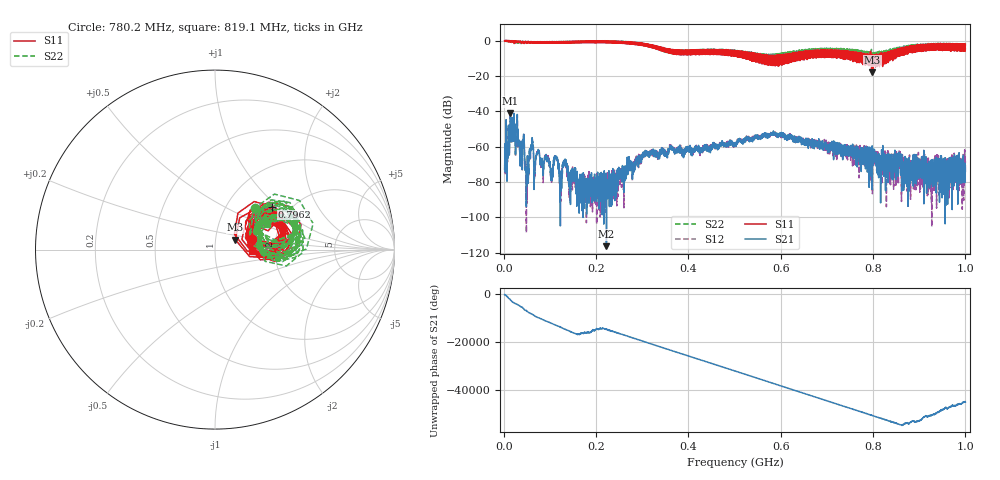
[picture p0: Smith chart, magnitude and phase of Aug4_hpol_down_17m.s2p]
!Keysight Technologies N9923A: A.12.45
!Date: Tuesday, 05 August 2025 18:19:02
!Timezone: (UTC+08:00) Kuala Lumpur, Singapore
!Model: N9923A
!Serial: MY61181427
!GPS Latitude:
!GPS Longitude:
!GPS TimeStamp: 0001-01-01 00:00:00Z
!GPS Seconds Since Last Read: 0
!CHECKSUM:1308973704
!Correction: S11(ON U)S21(ON U)S12(ON U)S22(ON U)
!S2P File: Measurements:S11,S21,S12,S22:
# Hz S DB R 50
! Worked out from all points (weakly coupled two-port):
!   4001 points, 2 MHz to 1 GHz, reference 50 ohm
!   highest |S21| = -41.08 dB at 14.47 MHz (marker M1); lowest = -116.3 dB at 222.6 MHz (marker M2)
!   lowest |S11| = -18.0 dB at 798.7 MHz (marker M3), VSWR 1.29, Z = 62.4 + j6.98 ohm
!   |S11| at or under -10 dB: 562.3508 MHz to 563.1646 MHz (813.8 kHz wide, 0.145 % of centre); 569.0419 MHz to 569.9514 MHz (909.6 kHz wide, 0.16 % of centre); 570.7486 MHz to 571.6505 MHz (901.9 kHz wide, 0.158 % of centre)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
!   |S22| runs from -13.9 to 0.1 dB; largest |S21 - S12| = 0.0011
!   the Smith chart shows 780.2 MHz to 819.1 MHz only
!   S11 on the Smith chart (normalised r, x): 780.2 MHz: 1.51, +0.19; 796.2 MHz: 1.61, +0.92; 819.1 MHz: 1.53, -0.02
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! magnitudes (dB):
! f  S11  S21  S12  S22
! 2 MHz  -0.1  -72.6  -70.7  -0.1
! 14.47 MHz  -0.9  -41.1  -41.1  -0.5
! 41.67 MHz  -0.4  -60.5  -60.0  -0.5
! 50.15 MHz  -0.8  -76.4  -77.9  -0.8
! 59.88 MHz  -0.7  -59.2  -59.5  -0.8
! 69.36 MHz  -1.3  -67.1  -65.9  -1.3
! 103.8 MHz  -0.6  -76.1  -80.1  -0.5
! 113.3 MHz  -1.2  -66.3  -65.8  -1.2
! 123 MHz  -1.3  -79.3  -81.3  -1.2
! 132.5 MHz  -0.6  -67.0  -69.1  -0.4
! 168.4 MHz  -1.2  -81.0  -77.8  -1.0
! 222.6 MHz  -0.8  -116.3  -88.2  -0.8
! 334.8 MHz  -4.2  -65.4  -65.7  -4.9
! 501 MHz  -6.3  -58.7  -58.2  -7.1
! 583.6 MHz  -9.1  -53.0  -52.3  -10.7
! 667.4 MHz  -8.9  -57.4  -57.7  -8.1
! 780.2 MHz  -13.3  -67.1  -62.1  -9.8
! 796.2 MHz  -8.0  -61.7  -72.9  -5.9
! 798.7 MHz  -18.0  -67.5  -86.6  -8.5
! 819.1 MHz  -13.6  -72.9  -65.9  -9.9
! 833.8 MHz  -9.0  -70.5  -70.9  -5.5
! 1 GHz  -2.0  -73.9  -68.3  -3.7
